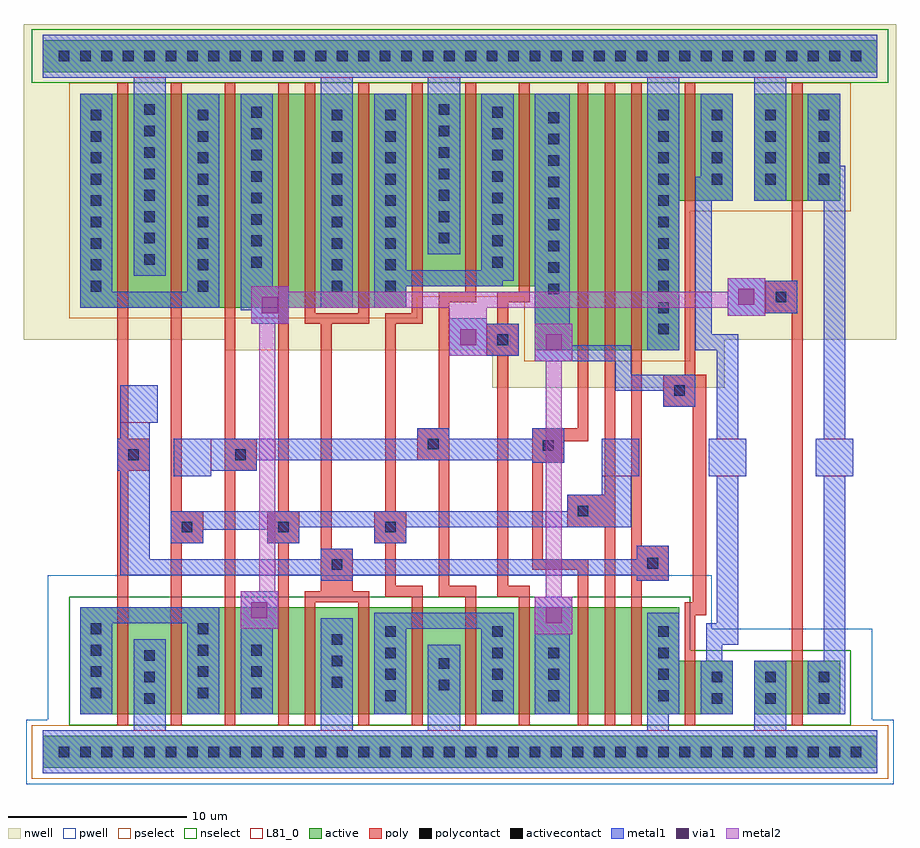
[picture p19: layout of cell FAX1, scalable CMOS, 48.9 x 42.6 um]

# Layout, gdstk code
import gdstk
lib = gdstk.Library(unit=1e-6, precision=1e-09)
def R(c, l, rs):  # rectangles x0, y0, x1, y1
    for r in rs: c.add(gdstk.rectangle(r[:2], r[2:], *l))
def A(c, l, x, y, w, h, nx, ny, dx, dy):  # array of equal rectangles
    R(c, l, [(x+i*dx, y+j*dy, x+i*dx+w, y+j*dy+h) for i in range(nx) for j in range(ny)])
pwell = (41, 0)
nwell = (42, 0)
active = (43, 0)
pselect = (44, 0)
nselect = (45, 0)
poly = (46, 0)
polycontact = (47, 0)
activecontact = (48, 0)
metal1 = (49, 0)
via1 = (50, 0)
metal2 = (51, 0)
L81_0 = (81, 0)

fax1 = lib.new_cell('FAX1')
R(fax1, pwell, [(-1.8,-1.8,46.8,1.8), (-0.6,1.8,45.6,6.9), (-0.6,6.9,36.6,9.9)])
R(fax1, nwell, [(24.3,20.4,37.35,22.5), (9.3,22.5,37.35,23.1), (-1.95,23.1,46.95,40.8)])
R(fax1, active, [(-0.9,-0.9,45.9,0.9), (1.2,2.1,37.8,5.1), (39,2.1,43.8,5.1), (1.2,5.1,34.8,8.1), (26.7,22.5,34.8,26.1), (1.2,24.9,19.5,26.1), (1.2,26.1,34.8,30.9), (1.2,30.9,37.8,36.9), (39,30.9,43.8,36.9), (-0.9,38.1,45.9,39.9)])
R(fax1, pselect, [(-1.5,-1.5,46.5,1.5), (26.1,21.9,35.4,25.5), (0.6,24.3,20.1,25.5), (0.6,25.5,35.4,30.3), (0.6,30.3,44.4,37.5)])
R(fax1, nselect, [(0.6,1.5,44.4,5.7), (0.6,5.7,35.4,8.7), (-1.5,37.5,46.5,40.5)])
A(fax1, poly, 19.8, 1.5, 0.6, 7.2, 3, 1, 3, 0)
A(fax1, poly, 13.8, 24.6, 0.6, 12.9, 3, 1, 3, 0)
R(fax1, poly, [(3.3,1.5,3.9,15.75), (6.3,1.5,6.9,11.7), (9.3,1.5,9.9,15.75), (12.3,1.5,12.9,11.7), (13.8,1.5,14.4,8.4), (16.8,1.5,17.4,8.4), (29.1,1.5,29.7,10.2), (30.6,1.5,31.2,12.6), (32.1,1.5,32.7,9.6), (35.1,1.5,35.7,7.65), (41.1,1.5,41.7,24.6), (35.1,7.65,36.3,8.4), (13.8,8.4,17.4,9), (35.55,8.4,36.3,19.35), (18.3,8.7,20.4,9.3), (21.3,8.7,23.4,9.3), (24.6,8.7,26.4,9.3), (14.7,9,16.5,11.4), (18.3,9.3,18.9,11.7), (21.3,9.3,21.9,16.35), (24.6,9.3,25.2,22.2), (32.1,9.6,34.2,11.55), (26.55,10.2,29.7,10.8), (26.55,10.8,27.15,16.2), (14.7,11.4,15.3,24), (32.1,11.55,32.7,37.5), (6.3,11.7,8.1,13.5), (11.7,11.7,13.5,13.5), (17.7,11.7,19.5,13.5), (28.5,12.6,31.2,14.4), (6.3,13.5,6.9,37.5), (12.3,13.5,12.9,37.5), (18.3,13.5,18.9,24), (30.6,14.4,31.2,37.5), (3.3,15.75,5.1,17.55), (9.3,15.75,11.1,17.55), (26.55,16.2,28.35,17.4), (20.1,16.35,21.9,18.15), (26.55,17.4,29.7,18.15), (3.3,17.55,3.9,37.5), (9.3,17.55,9.9,37.5), (21.3,18.15,21.9,25.2), (29.1,18.15,29.7,37.5), (33.9,19.35,36.3,21.15), (35.1,21.15,35.7,37.5), (24,22.2,25.8,24), (13.8,24,17.4,24.6), (18.3,24,20.4,24.6), (24.6,24,25.2,25.2), (39.6,24.6,41.7,26.4), (21.3,25.2,23.4,25.8), (24.6,25.2,26.4,25.8), (22.8,25.8,23.4,37.5), (25.8,25.8,26.4,37.5), (41.1,26.4,41.7,37.5)])
R(fax1, polycontact, [(15.3,10.2,15.9,10.8), (33,10.27,33.6,10.87), (6.9,12.3,7.5,12.9), (12.3,12.3,12.9,12.9), (18.3,12.3,18.9,12.9), (29.1,13.2,29.7,13.8), (3.9,16.35,4.5,16.95), (9.9,16.35,10.5,16.95), (27.15,16.87,27.75,17.47), (20.7,16.95,21.3,17.55), (34.5,19.95,35.1,20.55), (24.6,22.8,25.2,23.4), (40.2,25.2,40.8,25.8)])
A(fax1, activecontact, 0, -0.3, 0.6, 0.6, 38, 2, 1.2, 39)
A(fax1, activecontact, 4.8, 2.7, 0.6, 0.6, 1, 3, 0, 1.2)
A(fax1, activecontact, 36.6, 2.7, 0.6, 0.6, 3, 2, 3, 1.2)
A(fax1, activecontact, 18.3, 2.85, 0.6, 0.6, 1, 4, 0, 1.2)
A(fax1, activecontact, 24.3, 2.85, 0.6, 0.6, 1, 4, 0, 1.2)
A(fax1, activecontact, 27.45, 2.85, 0.6, 0.6, 1, 3, 0, 1.2)
A(fax1, activecontact, 33.6, 2.85, 0.6, 0.6, 1, 4, 0, 1.2)
A(fax1, activecontact, 1.8, 3, 0.6, 0.6, 1, 4, 0, 1.2)
A(fax1, activecontact, 7.8, 3, 0.6, 0.6, 1, 4, 0, 1.2)
A(fax1, activecontact, 10.8, 3, 0.6, 0.6, 1, 3, 0, 1.2)
A(fax1, activecontact, 15.3, 3.6, 0.6, 0.6, 1, 3, 0, 1.2)
A(fax1, activecontact, 33.6, 23.4, 0.6, 0.6, 1, 7, 0, 1.2)
A(fax1, activecontact, 27.45, 25.65, 0.6, 0.6, 1, 9, 0, 1.2)
A(fax1, activecontact, 1.8, 25.8, 0.6, 0.6, 1, 9, 0, 1.2)
A(fax1, activecontact, 7.8, 25.8, 0.6, 0.6, 1, 9, 0, 1.2)
A(fax1, activecontact, 15.3, 25.8, 0.6, 0.6, 1, 9, 0, 1.2)
A(fax1, activecontact, 18.3, 25.8, 0.6, 0.6, 1, 9, 0, 1.2)
A(fax1, activecontact, 10.8, 27.15, 0.6, 0.6, 1, 8, 0, 1.2)
A(fax1, activecontact, 24.3, 27.15, 0.6, 0.6, 1, 8, 0, 1.2)
A(fax1, activecontact, 4.8, 27.3, 0.6, 0.6, 1, 8, 0, 1.2)
A(fax1, activecontact, 21.3, 28.5, 0.6, 0.6, 1, 7, 0, 1.2)
A(fax1, activecontact, 33.6, 31.8, 0.6, 0.6, 4, 4, 3, 1.2)
R(fax1, activecontact, [(21.3,3.45,21.9,4.05), (21.3,4.65,21.9,5.25)])
A(fax1, metal1, 30.45, 15.45, 2.1, 2.1, 3, 1, 6, 0)
R(fax1, metal1, [(-0.9,-1.2,45.9,1.2), (4.2,1.2,6,6.3), (14.7,1.2,16.5,7.5), (20.7,1.2,22.5,6), (33,1.2,34.2,2.1), (39,1.2,40.8,5.1), (1.2,2.1,3,7.2), (7.2,2.1,9,7.2), (10.2,2.1,12,6.9), (17.7,2.1,19.5,6.9), (23.7,2.1,25.5,6.9), (26.7,2.1,28.65,6.6), (33,2.1,34.8,7.8), (36,2.1,37.8,5.1), (42,2.1,44.1,5.1), (36.3,5.1,37.2,6), (42.9,5.1,44.1,15.45), (36.3,6,38.1,7.2), (26.7,6.6,28.8,8.7), (10.2,6.9,12.3,9), (17.7,6.9,25.5,7.8), (1.2,7.2,9,8.1), (36.9,7.2,38.1,15.45), (14.7,9.6,16.5,9.9), (32.4,9.6,34.2,9.9), (3.45,9.9,34.2,10.8), (3.45,10.8,5.1,15.75), (14.7,10.8,16.5,11.4), (32.4,10.8,34.2,11.55), (6.3,11.7,8.1,12.45), (11.7,11.7,13.5,12.45), (17.7,11.7,19.5,12.6), (6.3,12.45,13.5,12.6), (6.3,12.6,32.1,13.5), (28.5,13.5,32.1,14.4), (30.45,14.4,32.1,15.45), (6.45,15.45,8.55,15.75), (3.3,15.75,5.1,17.55), (6.45,15.75,11.1,16.35), (26.55,16.2,28.35,16.35), (6.45,16.35,28.35,17.55), (3.45,17.55,5.1,18.45), (20.1,17.55,21.9,18.15), (26.55,17.55,28.35,18.15), (36.9,17.55,38.1,22.5), (42.9,17.55,44.1,30.9), (3.45,18.45,5.55,20.55), (33.9,19.35,35.7,20.25), (31.2,20.25,35.7,21.15), (31.2,21.15,32.1,21.9), (26.7,21.9,32.1,22.8), (21.9,22.2,25.8,24), (33,22.5,34.8,37.8), (35.7,22.5,38.1,23.4), (26.7,22.8,28.8,24), (35.7,23.4,36.6,30.9), (10.8,24,12.9,24.75), (21.9,24,24,24.3), (26.7,24,28.65,36.9), (37.5,24.45,39.6,24.6), (37.5,24.6,41.4,26.4), (10.2,24.75,12.9,26.1), (1.2,24.9,9,25.8), (14.7,24.9,16.5,37.8), (17.7,24.9,19.5,26.1), (1.2,25.8,3,36.9), (7.2,25.8,9,36.9), (10.2,26.1,12,36.9), (17.7,26.1,24.9,26.4), (17.7,26.4,25.5,27), (37.5,26.4,39.6,26.55), (4.2,26.7,6,37.8), (17.7,27,19.5,36.9), (23.7,27,25.5,36.9), (20.7,27.9,22.5,37.8), (35.7,30.9,37.8,32.25), (39,30.9,40.8,37.8), (42,30.9,44.1,32.85), (36,32.25,37.8,36.9), (42,32.85,43.8,36.9), (-0.9,37.8,45.9,40.2)])
R(fax1, via1, [(27.3,7.2,28.2,8.1), (10.8,7.5,11.7,8.4), (27.3,22.5,28.2,23.4), (22.5,22.8,23.4,23.7), (11.4,24.6,12.3,25.5), (38.1,25.05,39,25.95)])
R(fax1, metal2, [(26.7,6.6,28.8,8.7), (10.2,6.9,12.3,9), (27.3,8.7,28.2,21.9), (11.25,9,12.15,24), (26.7,21.9,28.8,24), (21.9,22.2,24,24.9), (10.8,24,12.9,24.9), (37.5,24.45,39.6,24.9), (10.8,24.9,39.6,25.8), (10.8,25.8,12.9,26.1), (37.5,25.8,39.6,26.55)])
A(fax1, L81_0, 30.45, 15.45, 2.1, 2.1, 3, 1, 6, 0)
R(fax1, L81_0, [(-0.9,-1.2,45.9,1.2), (6.45,15.45,8.55,17.55), (3.45,18.45,5.55,20.55), (-0.9,37.8,45.9,40.2)])

lib.write_gds('FAX1.gds')
